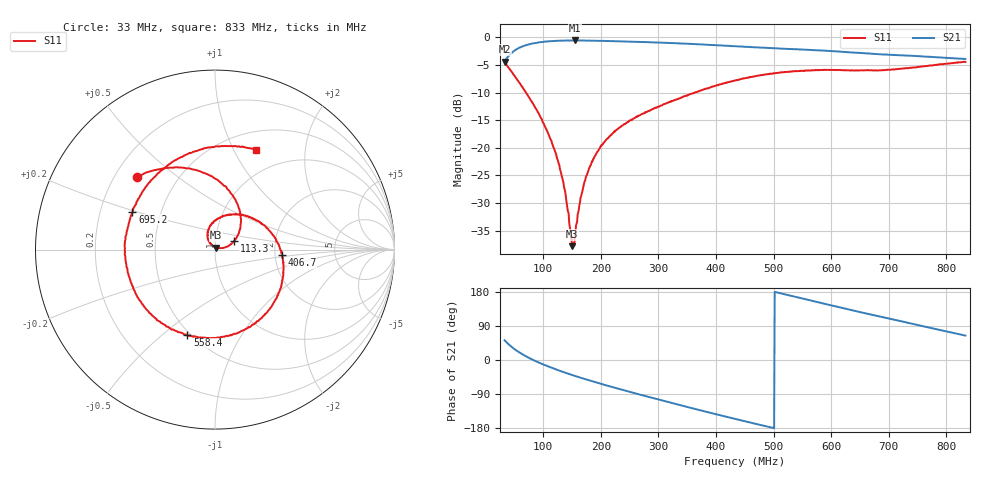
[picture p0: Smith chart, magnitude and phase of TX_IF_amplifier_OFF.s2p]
# HZ S RI R 50
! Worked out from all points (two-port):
!   808 points, 33 MHz to 833 MHz, reference 50 ohm
!   highest |S21| = -0.57 dB at 154.9 MHz (marker M1); lowest = -4.4 dB at 33 MHz (marker M2)
!   |S21| within 3 dB of the highest: 38.3 MHz to 776.3 MHz (738 MHz wide, 181 % of centre)
!   lowest |S11| = -37.8 dB at 150 MHz (marker M3), VSWR 1.03, Z = 50.7 + j1.05 ohm
!   |S11| at or under -10 dB: 70.06 MHz to 363.1 MHz (293 MHz wide, 135 % of centre)
!   S12 and S22 are empty: the file has one direction only
!   S11 on the Smith chart (normalised r, x): 33 MHz: 0.29, +0.37; 113.3 MHz: 1.23, +0.12; 406.7 MHz: 2.18, -0.15; 558.4 MHz: 0.48, -0.61; 695.2 MHz: 0.34, +0.19; 833 MHz: 0.71, +1.22
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3.3e7  -0.4321 0.4061  0.3721 0.4756  0 0  0 0
4.687856e7  -0.1423 0.4523  0.6193 0.3955  0 0  0 0
6.769641e7  0.0849 0.3181  0.8233 0.1706  0 0  0 0
1.132974e8  0.1071 0.0488  0.8676 -0.3139  0 0  0 0
1.341153e8  0.0493 0.0106  0.7973 -0.4856  0 0  0 0
1.499765e8  0.00752 0.0104  0.7227 -0.5949  0 0  0 0
1.549331e8  -0.00212 0.0157  0.6971 -0.6257  0 0  0 0
1.66829e8  -0.0221 0.0308  0.6295 -0.6914  0 0  0 0
1.826902e8  -0.0375 0.0585  0.5341 -0.7641  0 0  0 0
2.084647e8  -0.0372 0.1102  0.3692 -0.8488  0 0  0 0
2.996667e8  0.1304 0.1955  -0.2192 -0.869  0 0  0 0
3.561723e8  0.2768 0.1334  -0.5162 -0.7027  0 0  0 0
4.067299e8  0.3724 -0.0291  -0.6973 -0.4795  0 0  0 0
4.334957e8  0.3802 -0.1475  -0.7554 -0.3438  0 0  0 0
5.028885e8  0.18 -0.4379  -0.7941 0.00994  0 0  0 0
5.584028e8  -0.1536 -0.4762  -0.7203 0.2715  0 0  0 0
5.663334e8  -0.2024 -0.4605  -0.7032 0.3087  0 0  0 0
6.297783e8  -0.4717 -0.1725  -0.505 0.5323  0 0  0 0
6.952058e8  -0.4597 0.212  -0.2534 0.6504  0 0  0 0
7.001624e8  -0.45 0.2383  -0.233 0.6556  0 0  0 0
7.715379e8  -0.146 0.5371  0.0579 0.6632  0 0  0 0
8.330001e8  0.2272 0.553  0.2747 0.5729  0 0  0 0
